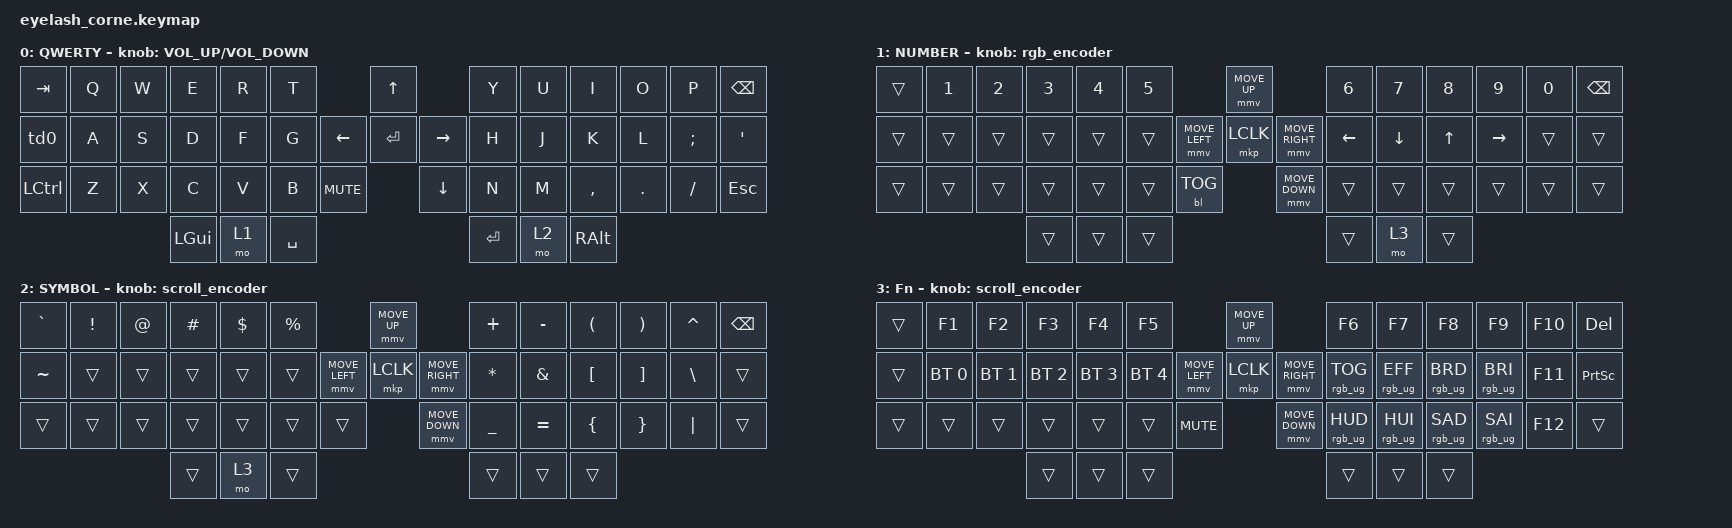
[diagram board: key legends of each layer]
#define ZMK_POINTING_DEFAULT_MOVE_VAL 1200  // 600
#define ZMK_POINTING_DEFAULT_SCRL_VAL 25   // 10

#include <input/processors.dtsi>
#include <zephyr/dt-bindings/input/input-event-codes.h>
#include <behaviors.dtsi>
#include <dt-bindings/zmk/backlight.h>
#include <dt-bindings/zmk/bt.h>
#include <dt-bindings/zmk/keys.h>
#include <dt-bindings/zmk/pointing.h>
#include <dt-bindings/zmk/rgb.h>

&mmv_input_listener { input-processors = <&zip_xy_scaler 2 1>; };

&msc_input_listener { input-processors = <&zip_scroll_scaler 2 1>; };

&msc {
    acceleration-exponent = <1>;      // 0
    time-to-max-speed-ms = <100>;       // 300
    delay-ms = <0>;                   // 0
};

&mmv {
    time-to-max-speed-ms = <500>;
    acceleration-exponent = <1>;
    trigger-period-ms = <16>;
};

/ {
    behaviors {
        td0: td0 {
            compatible = "zmk,behavior-tap-dance";
            display-name = "Shift/Caps Lock Tap Dance";
            #binding-cells = <0>;
            bindings = <&kp LEFT_SHIFT>, <&kp CAPS>;
        };
    };

    rgb_encoder: rgb_encoder {
        compatible = "zmk,behavior-sensor-rotate";
        #sensor-binding-cells = <0>;
        bindings = <&rgb_ug RGB_BRI>, <&rgb_ug RGB_BRD>;
    };

    scroll_encoder: scroll_encoder {
        compatible = "zmk,behavior-sensor-rotate";
        #sensor-binding-cells = <0>;
        bindings = <&msc SCRL_DOWN>, <&msc SCRL_UP>;

        tap-ms = <100>;
    };

    keymap {
        compatible = "zmk,keymap";

        default_layer {
            display-name = "QWERTY";
            bindings = <
&kp TAB    &kp Q  &kp W  &kp E     &kp R  &kp T                              &kp UP                &kp Y      &kp U  &kp I      &kp O    &kp P     &kp BSPC
&td0       &kp A  &kp S  &kp D     &kp F  &kp G                    &kp LEFT  &kp ENTER  &kp RIGHT  &kp H      &kp J  &kp K      &kp L    &kp SEMI  &kp SQT
&kp LCTRL  &kp Z  &kp X  &kp C     &kp V  &kp B      &kp C_MUTE              &kp DOWN              &kp N      &kp M  &kp COMMA  &kp DOT  &kp FSLH  &kp ESC
                         &kp LGUI  &mo 1  &kp SPACE                                                &kp ENTER  &mo 2  &kp RALT
            >;

            sensor-bindings = <&inc_dec_kp C_VOLUME_UP C_VOLUME_DOWN>;
        };

        lower_layer {
            display-name = "NUMBER";
            bindings = <
&trans  &kp N1  &kp N2  &kp N3  &kp N4  &kp N5                                &mmv MOVE_UP                     &kp N6    &kp N7    &kp N8  &kp N9     &kp N0  &kp BSPC
&trans  &trans  &trans  &trans  &trans  &trans                &mmv MOVE_LEFT  &mkp LCLK       &mmv MOVE_RIGHT  &kp LEFT  &kp DOWN  &kp UP  &kp RIGHT  &trans  &trans
&trans  &trans  &trans  &trans  &trans  &trans  &bl BL_TOG                    &mmv MOVE_DOWN                   &trans    &trans    &trans  &trans     &trans  &trans
                        &trans  &trans  &trans                                                                 &trans    &mo 3     &trans
            >;

            sensor-bindings = <&rgb_encoder>;
        };

        raise_layer {
            display-name = "SYMBOL";
            bindings = <
&kp GRAVE  &kp EXCL  &kp AT  &kp HASH  &kp DLLR  &kp PRCNT                            &mmv MOVE_UP                     &kp PLUS   &kp MINUS  &kp LPAR  &kp RPAR  &kp CARET  &kp BSPC
&kp TILDE  &trans    &trans  &trans    &trans    &trans               &mmv MOVE_LEFT  &mkp LCLK       &mmv MOVE_RIGHT  &kp ASTRK  &kp AMPS   &kp LBKT  &kp RBKT  &kp BSLH   &trans
&trans     &trans    &trans  &trans    &trans    &trans     &trans                    &mmv MOVE_DOWN                   &kp UNDER  &kp EQUAL  &kp LBRC  &kp RBRC  &kp PIPE   &trans
                             &trans    &mo 3     &trans                                                                &trans     &trans     &trans
            >;

            sensor-bindings = <&scroll_encoder>;
        };

        layer_3 {
            display-name = "Fn";
            bindings = <
&trans  &kp F1        &kp F2        &kp F3        &kp F4        &kp F5                                      &mmv MOVE_UP                     &kp F6           &kp F7           &kp F8           &kp F9           &kp F10  &kp DEL
&trans  &bt BT_SEL 0  &bt BT_SEL 1  &bt BT_SEL 2  &bt BT_SEL 3  &bt BT_SEL 4                &mmv MOVE_LEFT  &mkp LCLK       &mmv MOVE_RIGHT  &rgb_ug RGB_TOG  &rgb_ug RGB_EFF  &rgb_ug RGB_BRD  &rgb_ug RGB_BRI  &kp F11  &kp PRINTSCREEN
&trans  &trans        &trans        &trans        &trans        &trans        &kp C_MUTE                    &mmv MOVE_DOWN                   &rgb_ug RGB_HUD  &rgb_ug RGB_HUI  &rgb_ug RGB_SAD  &rgb_ug RGB_SAI  &kp F12  &trans
                                    &trans        &trans        &trans                                                                       &trans           &trans           &trans
            >;

            sensor-bindings = <&scroll_encoder>;
        };
    };
};
